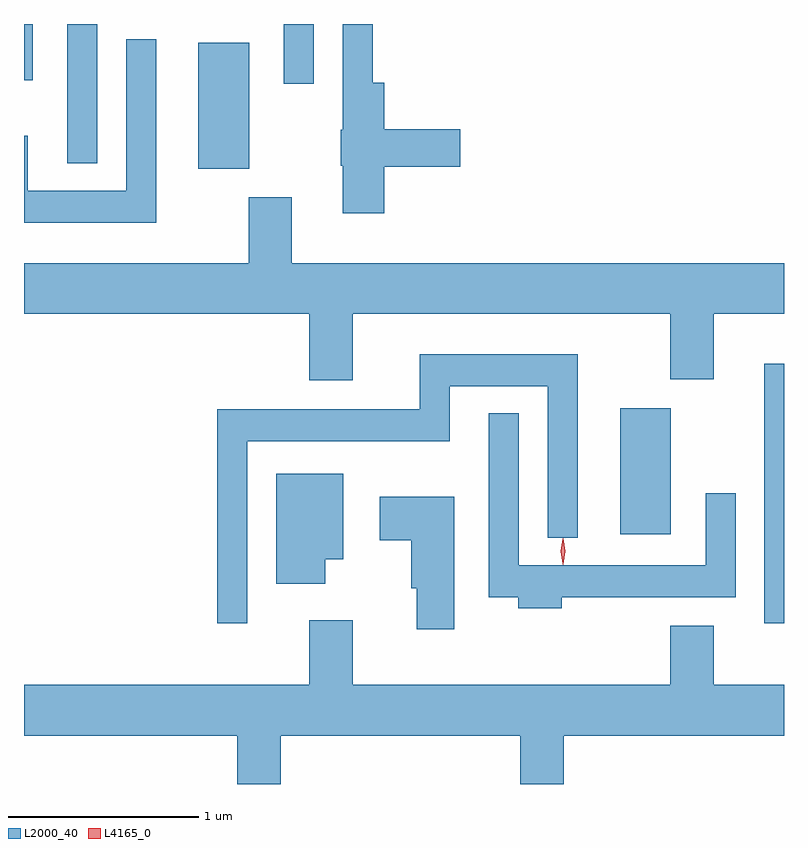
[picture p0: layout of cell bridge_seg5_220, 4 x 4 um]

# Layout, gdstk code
import gdstk
lib = gdstk.Library(unit=1e-6, precision=1e-09)
def R(c, l, rs):  # rectangles x0, y0, x1, y1
    for r in rs: c.add(gdstk.rectangle(r[:2], r[2:], *l))
def P(c, l, *ps):  # polygons
    for p in ps: c.add(gdstk.Polygon(p, *l))
L2000_40 = (2000, 40)
L4165_0 = (4165, 0)

bridge_seg5_220 = lib.new_cell('bridge_seg5_220')
R(bridge_seg5_220, L2000_40, [(1343.406,1428.528,1343.509,1429.894), (1342.646,1428.996,1342.914,1429.659), (1340.426,1430.921,1340.694,1431.584), (1339.736,1430.948,1339.894,1431.682), (1340.876,1431.368,1341.034,1431.682), (1339.509,1431.386,1339.554,1431.682)])
P(bridge_seg5_220, L2000_40, [(1341.404,1430.931),(1341.804,1430.931),(1341.804,1431.129),(1341.404,1431.129),(1341.404,1431.374),(1341.344,1431.374),(1341.344,1431.682),(1341.186,1431.682),(1341.186,1431.125),(1341.176,1431.125),(1341.176,1430.935),(1341.186,1430.935),(1341.186,1430.686),(1341.404,1430.686)],
  [(1340.204,1431.603),(1340.046,1431.603),(1340.046,1430.804),(1339.529,1430.804),(1339.529,1431.094),(1339.509,1431.094),(1339.509,1430.636),(1340.204,1430.636)],
  [(1341.239,1430.156),(1342.911,1430.156),(1342.911,1429.811),(1343.139,1429.811),(1343.139,1430.156),(1343.509,1430.156),(1343.509,1430.424),(1340.919,1430.424),(1340.919,1430.769),(1340.691,1430.769),(1340.691,1430.424),(1339.509,1430.424),(1339.509,1430.156),(1341.011,1430.156),(1341.011,1429.806),(1341.239,1429.806)],
  [(1340.684,1429.486),(1341.749,1429.486),(1341.749,1429.776),(1342.266,1429.776),(1342.266,1428.978),(1342.424,1428.978),(1342.424,1429.944),(1341.591,1429.944),(1341.591,1429.654),(1340.526,1429.654),(1340.526,1428.528),(1340.684,1428.528)],
  [(1342.339,1428.666),(1343.254,1428.666),(1343.254,1429.213),(1343.096,1429.213),(1343.096,1428.834),(1342.114,1428.834),(1342.114,1429.633),(1341.956,1429.633),(1341.956,1428.666),(1342.111,1428.666),(1342.111,1428.606),(1342.339,1428.606)],
  [(1341.094,1428.866),(1341.189,1428.866),(1341.189,1429.314),(1340.836,1429.314),(1340.836,1428.736),(1341.094,1428.736)],
  [(1341.774,1429.194),(1341.381,1429.194),(1341.381,1428.966),(1341.546,1428.966),(1341.546,1428.711),(1341.576,1428.711),(1341.576,1428.496),(1341.774,1428.496)],
  [(1340.859,1427.936),(1342.121,1427.936),(1342.121,1427.682),(1342.349,1427.682),(1342.349,1427.936),(1343.509,1427.936),(1343.509,1428.204),(1343.139,1428.204),(1343.139,1428.514),(1342.911,1428.514),(1342.911,1428.204),(1341.239,1428.204),(1341.239,1428.544),(1341.011,1428.544),(1341.011,1428.204),(1339.509,1428.204),(1339.509,1427.936),(1340.631,1427.936),(1340.631,1427.682),(1340.859,1427.682)])
P(bridge_seg5_220, L4165_0, [(1342.348,1428.837),(1342.348,1428.838),(1342.338,1428.907),(1342.348,1428.976),(1342.348,1428.976),(1342.348,1428.976),(1342.358,1428.907),(1342.348,1428.838)],
  [(1342.345,1428.839),(1342.344,1428.84),(1342.335,1428.906),(1342.344,1428.972),(1342.345,1428.973),(1342.346,1428.972),(1342.355,1428.906),(1342.346,1428.84)])

lib.write_gds('bridge_seg5_220.gds')
